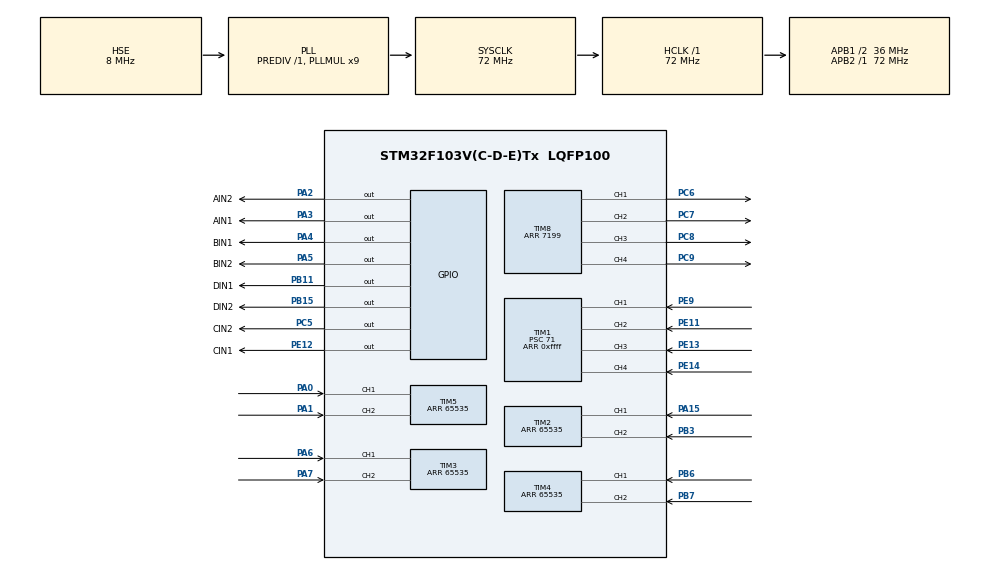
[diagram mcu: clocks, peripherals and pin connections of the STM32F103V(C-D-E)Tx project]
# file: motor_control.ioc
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Mcu.Family=STM32F1
Mcu.Name=STM32F103V(C-D-E)Tx
Mcu.Package=LQFP100
NVIC.PriorityGroup=NVIC_PRIORITYGROUP_4
NVIC.TIM1_BRK_IRQn=true\:0\:0\:true\:false\:true\:true\:true
NVIC.TIM1_CC_IRQn=true\:0\:0\:true\:false\:true\:true\:true
NVIC.TIM1_TRG_COM_IRQn=true\:0\:0\:true\:false\:true\:true\:true
NVIC.TIM1_UP_IRQn=true\:0\:0\:true\:false\:true\:true\:true
NVIC.TIM2_IRQn=true\:0\:0\:false\:false\:true\:true\:true
NVIC.TIM3_IRQn=true\:0\:0\:false\:false\:true\:true\:true
NVIC.TIM4_IRQn=true\:0\:0\:false\:false\:true\:true\:true
NVIC.TIM5_IRQn=true\:0\:0\:false\:false\:true\:true\:true
OSC_IN.Mode=HSE-External-Oscillator
OSC_IN.Signal=RCC_OSC_IN
OSC_OUT.Mode=HSE-External-Oscillator
OSC_OUT.Signal=RCC_OSC_OUT
PA0-WKUP.GPIO_PuPd=GPIO_PULLUP
PA0-WKUP.Signal=S_TIM5_CH1
PA1.GPIO_PuPd=GPIO_PULLUP
PA1.Signal=S_TIM5_CH2
PA13.Mode=Serial_Wire
PA13.Signal=SYS_JTMS-SWDIO
PA14.Mode=Serial_Wire
PA14.Signal=SYS_JTCK-SWCLK
PA15.GPIO_PuPd=GPIO_PULLUP
PA15.Signal=S_TIM2_CH1_ETR
PA2.GPIO_Label=AIN2
PA2.GPIO_PuPd=GPIO_PULLDOWN
PA2.Signal=GPIO_Output
PA3.GPIO_Label=AIN1
PA3.GPIO_PuPd=GPIO_PULLDOWN
PA3.Signal=GPIO_Output
PA4.GPIO_Label=BIN1
PA4.Signal=GPIO_Output
PA5.GPIO_Label=BIN2
PA5.Signal=GPIO_Output
PA6.GPIO_PuPd=GPIO_PULLUP
PA6.Signal=S_TIM3_CH1
PA7.GPIO_PuPd=GPIO_PULLUP
PA7.Signal=S_TIM3_CH2
PB11.GPIO_Label=DIN1
PB11.GPIO_PuPd=GPIO_PULLDOWN
PB11.Signal=GPIO_Output
PB15.GPIO_Label=DIN2
PB15.GPIO_PuPd=GPIO_PULLDOWN
PB15.Signal=GPIO_Output
PB3.GPIO_PuPd=GPIO_PULLUP
PB3.Signal=S_TIM2_CH2
PB6.Signal=S_TIM4_CH1
PB7.Signal=S_TIM4_CH2
PC5.GPIO_Label=CIN2
PC5.Signal=GPIO_Output
PC6.Signal=S_TIM8_CH1
PC7.Signal=S_TIM8_CH2
PC8.Signal=S_TIM8_CH3
PC9.Signal=S_TIM8_CH4
PE11.GPIO_PuPd=GPIO_PULLDOWN
PE11.Signal=S_TIM1_CH2
PE12.GPIO_Label=CIN1
PE12.Signal=GPIO_Output
PE13.GPIO_PuPd=GPIO_PULLDOWN
PE13.Signal=S_TIM1_CH3
PE14.GPIO_PuPd=GPIO_PULLDOWN
PE14.Signal=S_TIM1_CH4
PE9.GPIO_PuPd=GPIO_PULLDOWN
PE9.Signal=S_TIM1_CH1
ProjectManager.HeapSize=0x200
ProjectManager.StackSize=0x400
ProjectManager.TargetToolchain=MDK-ARM V5
RCC.AHBFreq_Value=72000000
RCC.APB1CLKDivider=RCC_HCLK_DIV2
RCC.APB1Freq_Value=36000000
RCC.APB1TimFreq_Value=72000000
RCC.APB2Freq_Value=72000000
RCC.APB2TimFreq_Value=72000000
RCC.HCLKFreq_Value=72000000
RCC.PLLMUL=RCC_PLL_MUL9
RCC.PLLSourceVirtual=RCC_PLLSOURCE_HSE
RCC.SYSCLKFreq_VALUE=72000000
RCC.SYSCLKSource=RCC_SYSCLKSOURCE_PLLCLK
RCC.USBFreq_Value=72000000
SH.S_TIM1_CH1.0=TIM1_CH1,Input_Capture1_from_TI1
SH.S_TIM1_CH2.0=TIM1_CH2,Input_Capture2_from_TI2
SH.S_TIM1_CH3.0=TIM1_CH3,Input_Capture3_from_TI3
SH.S_TIM1_CH4.0=TIM1_CH4,Input_Capture4_from_TI4
SH.S_TIM2_CH1_ETR.0=TIM2_CH1,Encoder_Interface
SH.S_TIM2_CH2.0=TIM2_CH2,Encoder_Interface
SH.S_TIM3_CH1.0=TIM3_CH1,Encoder_Interface
SH.S_TIM3_CH2.0=TIM3_CH2,Encoder_Interface
SH.S_TIM4_CH1.0=TIM4_CH1,Encoder_Interface
SH.S_TIM4_CH2.0=TIM4_CH2,Encoder_Interface
SH.S_TIM5_CH1.0=TIM5_CH1,Encoder_Interface
SH.S_TIM5_CH2.0=TIM5_CH2,Encoder_Interface
SH.S_TIM8_CH1.0=TIM8_CH1,PWM Generation1 CH1
SH.S_TIM8_CH2.0=TIM8_CH2,PWM Generation2 CH2
SH.S_TIM8_CH3.0=TIM8_CH3,PWM Generation3 CH3
SH.S_TIM8_CH4.0=TIM8_CH4,PWM Generation4 CH4
TIM1.AutoReloadPreload=TIM_AUTORELOAD_PRELOAD_ENABLE
TIM1.Channel-Input_Capture1_from_TI1=TIM_CHANNEL_1
TIM1.Channel-Input_Capture2_from_TI2=TIM_CHANNEL_2
TIM1.Channel-Input_Capture3_from_TI3=TIM_CHANNEL_3
TIM1.Channel-Input_Capture4_from_TI4=TIM_CHANNEL_4
TIM1.ICFilter_CH1=8
TIM1.ICFilter_CH2=8
TIM1.ICFilter_CH3=8
TIM1.ICFilter_CH4=8
TIM1.ICPolarity_CH1=TIM_INPUTCHANNELPOLARITY_FALLING
TIM1.ICPolarity_CH2=TIM_INPUTCHANNELPOLARITY_FALLING
TIM1.ICPolarity_CH3=TIM_INPUTCHANNELPOLARITY_FALLING
TIM1.ICPolarity_CH4=TIM_INPUTCHANNELPOLARITY_FALLING
TIM1.Period=0xffff
TIM1.Prescaler=71
TIM1.TIM_MasterOutputTrigger=TIM_TRGO_UPDATE
TIM2.EncoderMode=TIM_ENCODERMODE_TI12
TIM2.Period=65535
TIM3.EncoderMode=TIM_ENCODERMODE_TI12
TIM3.Period=65535
TIM4.EncoderMode=TIM_ENCODERMODE_TI12
TIM4.Period=65535
TIM5.EncoderMode=TIM_ENCODERMODE_TI12
TIM5.Period=65535
TIM8.Channel-PWM\ Generation1\ CH1=TIM_CHANNEL_1
TIM8.Channel-PWM\ Generation2\ CH2=TIM_CHANNEL_2
TIM8.Channel-PWM\ Generation3\ CH3=TIM_CHANNEL_3
TIM8.Channel-PWM\ Generation4\ CH4=TIM_CHANNEL_4
TIM8.Period=7199
VP_TIM1_VS_ClockSourceINT.Mode=Internal
board=custom

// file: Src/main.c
/* USER CODE BEGIN Header */
/**
  ******************************************************************************
  * @file           : main.c
  * @brief          : Main program body
  ******************************************************************************
  * @attention
  *
  * <h2><center>&copy; Copyright (c) 2023 STMicroelectronics.
  * All rights reserved.</center></h2>
  *
  * This software component is licensed by ST under BSD 3-Clause license,
  * the "License"; You may not use this file except in compliance with the
  * License. You may obtain a copy of the License at:
  *                        opensource.org/licenses/BSD-3-Clause
  *
  ******************************************************************************
  */
/* USER CODE END Header */

#include "main.h"
#include "tim.h"
#include "gpio.h"

/* USER CODE BEGIN Includes */
#include "stdio.h"
#include "math.h"
/* USER CODE END Includes */

/* USER CODE BEGIN PTD */

//编码器方向规定：向前为正
//直流电机旋转方向规定：向前为正

int flag=3;

int Direction_motor_A=0,Read_Encoder_A=0,Last_Read_Encoder_A=0,Encoder_A=0;  //电机编码器相关
int Direction_motor_B=0,Read_Encoder_B=0,Last_Read_Encoder_B=0,Encoder_B=0;
int Direction_motor_C=0,Read_Encoder_C=0,Last_Read_Encoder_C=0,Encoder_C=0;
int Direction_motor_D=0,Read_Encoder_D=0,Last_Read_Encoder_D=0,Encoder_D=0;
short Read_Encoder_short_A=0,Read_Encoder_short_B=0,Read_Encoder_short_C=0,Read_Encoder_short_D=0;

int motor_a=0,motor_b=0,motor_c=0,motor_d=0;  //各电机的PWM控制输出

int Target_velocity=20;  //设定速度控制的目标速度为30个脉冲每10ms
int Target_position=8000;

/* USER CODE END PTD */

/* USER CODE BEGIN PD */

/* 求绝对值函数 */
int myabs(long int a)
{
	  int temp;
		if(a<0)  temp=-a;
	  else temp=a;
	  return temp;
}

/* 定时器输出PWM函数，控制电机进行旋转 */
void Set_Pwm(int motor_pwm_a,int motor_pwm_b,int motor_pwm_c,int motor_pwm_d)
{
  if(motor_pwm_a<0)  //MotorA
	{
		HAL_GPIO_WritePin(GPIOA, AIN1_Pin, GPIO_PIN_RESET);
		HAL_GPIO_WritePin(GPIOA, AIN2_Pin, GPIO_PIN_SET);
	}
	else
	{
		HAL_GPIO_WritePin(GPIOA, AIN1_Pin, GPIO_PIN_SET);
		HAL_GPIO_WritePin(GPIOA, AIN2_Pin, GPIO_PIN_RESET);
	}
	__HAL_TIM_SET_COMPARE(&htim8, TIM_CHANNEL_1, myabs(motor_pwm_a));

  if(motor_pwm_b<0)  //MotorB
	{
		HAL_GPIO_WritePin(GPIOA, BIN1_Pin, GPIO_PIN_SET);
		HAL_GPIO_WritePin(GPIOA, BIN2_Pin, GPIO_PIN_RESET);
	}
	else
	{
		HAL_GPIO_WritePin(GPIOA, BIN1_Pin, GPIO_PIN_RESET);
		HAL_GPIO_WritePin(GPIOA, BIN2_Pin, GPIO_PIN_SET);
	}
	__HAL_TIM_SET_COMPARE(&htim8, TIM_CHANNEL_2, myabs(motor_pwm_b));

  if(motor_pwm_c<0)  //MotorC
	{
		HAL_GPIO_WritePin(GPIOE, CIN1_Pin, GPIO_PIN_RESET);
		HAL_GPIO_WritePin(GPIOC, CIN2_Pin, GPIO_PIN_SET);
	}
	else
	{
		HAL_GPIO_WritePin(GPIOE, CIN1_Pin, GPIO_PIN_SET);
		HAL_GPIO_WritePin(GPIOC, CIN2_Pin, GPIO_PIN_RESET);
	}
	__HAL_TIM_SET_COMPARE(&htim8, TIM_CHANNEL_3, myabs(motor_pwm_c));

  if(motor_pwm_d<0)  //MotorD
	{
		HAL_GPIO_WritePin(GPIOB, DIN1_Pin, GPIO_PIN_RESET);
		HAL_GPIO_WritePin(GPIOB, DIN2_Pin, GPIO_PIN_SET);
	}
	else
	{
		HAL_GPIO_WritePin(GPIOB, DIN1_Pin, GPIO_PIN_SET);
		HAL_GPIO_WritePin(GPIOB, DIN2_Pin, GPIO_PIN_RESET);
	}
	__HAL_TIM_SET_COMPARE(&htim8, TIM_CHANNEL_4, myabs(motor_pwm_d));
}

/* 限幅函数 */
int target_limit_int(int insert,int low,int high)
{
    if (insert < low)
        return low;
    else if (insert > high)
        return high;
    else
        return insert;
}

/* PI速度环控制器 */
int Incremental_PI (int Encoder,int Target)
{
   float Kp=200,Ki=1;
	 static int Bias,Pwm,Last_bias;
	 Bias=Target-Encoder;                //计算偏差=目标值-测量值
	 Pwm+=Kp*(Bias-Last_bias)+Ki*Bias;   //增量式PI控制器
	 Last_bias=Bias;	                   //保存上一次偏差
	 return Pwm;                         //增量输出
}

/* PID位置环控制器 */
int Position_PID (int Encoder,int Target)
{
	 float Position_KP=20,Position_KI=0,Position_KD=0;
	 static float Bias,Pwm,Integral_bias,Last_Bias;
	 Bias=Target-Encoder;                                  //计算偏差
	 Integral_bias+=Bias;	                                 //求出偏差的积分
	 Pwm=Position_KP*Bias+Position_KI*Integral_bias+Position_KD*(Bias-Last_Bias);       //位置式PID控制器
	 Last_Bias=Bias;                                       //保存上一次偏差
	 return Pwm;                                           //增量输出
}

/* 读取10ms内各编码器的变化量 */
int Read_Encoder(int Encode_x)
{
	short Encoder_NUM;

	switch(Encode_x)
	{
		case 1:
		{
			Direction_motor_A = __HAL_TIM_IS_TIM_COUNTING_DOWN(&htim2);	//方向相关，该变量暂未使用
			Read_Encoder_A=__HAL_TIM_GET_COUNTER(&htim2);
			Read_Encoder_short_A = 	(short)Read_Encoder_A;
			TIM2 -> CNT=0;
			Encoder_NUM = -Read_Encoder_short_A;
			break;
		}
		case 2:
		{
			Direction_motor_B = __HAL_TIM_IS_TIM_COUNTING_DOWN(&htim3);	//方向相关，该变量暂未使用
			Read_Encoder_B=__HAL_TIM_GET_COUNTER(&htim3);
			Read_Encoder_short_B = 	(short)Read_Encoder_B;
			TIM3 -> CNT=0;
			Encoder_NUM = -Read_Encoder_short_B;
			break;
		}
		case 3:
		{
			Direction_motor_C = __HAL_TIM_IS_TIM_COUNTING_DOWN(&htim4);	//方向相关，该变量暂未使用
			Read_Encoder_C=__HAL_TIM_GET_COUNTER(&htim4);
			Read_Encoder_short_C = 	(short)Read_Encoder_C;
			TIM4 -> CNT=0;
			Encoder_NUM = Read_Encoder_short_C;
			break;
		}
		case 4:
		{
			Direction_motor_D = __HAL_TIM_IS_TIM_COUNTING_DOWN(&htim5);	//方向相关，该变量暂未使用
			Read_Encoder_D=__HAL_TIM_GET_COUNTER(&htim5);
			Read_Encoder_short_D = 	(short)Read_Encoder_D;
			TIM5 -> CNT=0;
			Encoder_NUM = Read_Encoder_short_D;
			break;
		}
		default: Encoder_NUM=0;
	}
	return Encoder_NUM;
}

/* USER CODE END PD */

void SystemClock_Config(void);

int main(void)
{

  /* MCU Configuration--------------------------------------------------------*/

  /* Reset of all peripherals, Initializes the Flash interface and the Systick. */
  HAL_Init();

  /* Configure the system clock */
  SystemClock_Config();

  /* Initialize all configured peripherals */
  MX_GPIO_Init();
  MX_TIM5_Init();
  MX_TIM2_Init();
  MX_TIM3_Init();
  MX_TIM4_Init();
  MX_TIM8_Init();
  MX_TIM1_Init();
  /* USER CODE BEGIN 2 */

	HAL_TIM_IC_Start_IT(&htim1,TIM_CHANNEL_1);	//一定要开启TIM1通道1的捕获中断
	HAL_TIM_IC_Start_IT(&htim1,TIM_CHANNEL_2);	//一定要开启TIM1通道2的捕获中断
	HAL_TIM_IC_Start_IT(&htim1,TIM_CHANNEL_3);	//一定要开启TIM1通道3的捕获中断
	HAL_TIM_IC_Start_IT(&htim1,TIM_CHANNEL_4);	//一定要开启TIM1通道4的捕获中断

  __HAL_TIM_ENABLE_IT(&htim1,TIM_IT_UPDATE);	//一定要开启TIM1的更新中断

	HAL_TIM_Encoder_Start(&htim2, TIM_CHANNEL_1);  //MotorA  编码器输入
	HAL_TIM_Encoder_Start(&htim2, TIM_CHANNEL_2);  //MotorA  编码器输入

	HAL_TIM_Encoder_Start(&htim3, TIM_CHANNEL_1);  //MotorB  编码器输入
	HAL_TIM_Encoder_Start(&htim3, TIM_CHANNEL_2);  //MotorB  编码器输入

	HAL_TIM_Encoder_Start(&htim4, TIM_CHANNEL_1);  //MotorC  编码器输入
	HAL_TIM_Encoder_Start(&htim4, TIM_CHANNEL_2);  //MotorC  编码器输入

  HAL_TIM_Encoder_Start(&htim5, TIM_CHANNEL_1);  //MotorD  编码器输入
	HAL_TIM_Encoder_Start(&htim5, TIM_CHANNEL_2);  //MotorD  编码器输入

	HAL_TIM_PWM_Start(&htim8, TIM_CHANNEL_1); 	 //MotorA\B\C\D  PWM输出
	HAL_TIM_PWM_Start(&htim8, TIM_CHANNEL_2); 	 //MotorA\B\C\D  PWM输出
	HAL_TIM_PWM_Start(&htim8, TIM_CHANNEL_3); 	 //MotorA\B\C\D  PWM输出
	HAL_TIM_PWM_Start(&htim8, TIM_CHANNEL_4); 	 //MotorA\B\C\D  PWM输出

  /* USER CODE END 2 */

  /* Infinite loop */
  while (1)
  {

    /* USER CODE BEGIN 3 */

//		while(flag)
//		{
//			for(int i=0;i<3;i++)
//			{
//				Set_Pwm(1000);
//				HAL_Delay(1000);
//				flag--;
//			}
//		}

		Encoder_A = Read_Encoder(1);
		Encoder_B = Read_Encoder(2);
		Encoder_C = Read_Encoder(3);
		Encoder_D = Read_Encoder(4);

		motor_a=Incremental_PI(Encoder_A,Target_velocity); // PI速度环控制器
    motor_b=Incremental_PI(Encoder_B,Target_velocity); // PI速度环控制器
		motor_c=Incremental_PI(Encoder_C,Target_velocity); // PI速度环控制器
		motor_d=Incremental_PI(Encoder_D,Target_velocity); // PI速度环控制器

//		motor_a=Position_PID(Read_Encoder_D,Target_position);  //PID位置环控制器

		motor_a=target_limit_int(motor_a,-2000,2000);  //限幅函数
		motor_b=target_limit_int(motor_b,-2000,2000);  //限幅函数
		motor_c=target_limit_int(motor_c,-2000,2000);  //限幅函数
		motor_d=target_limit_int(motor_d,-2000,2000);  //限幅函数

		//Set_Pwm(motor_a,motor_b,motor_c,motor_d);

		HAL_Delay(10);
  }
  /* USER CODE END 3 */
}

void SystemClock_Config(void)
{
  RCC_OscInitTypeDef RCC_OscInitStruct = {0};
  RCC_ClkInitTypeDef RCC_ClkInitStruct = {0};

  /** Initializes the CPU, AHB and APB busses clocks
  */
  RCC_OscInitStruct.OscillatorType = RCC_OSCILLATORTYPE_HSE;
  RCC_OscInitStruct.HSEState = RCC_HSE_ON;
  RCC_OscInitStruct.HSEPredivValue = RCC_HSE_PREDIV_DIV1;
  RCC_OscInitStruct.HSIState = RCC_HSI_ON;
  RCC_OscInitStruct.PLL.PLLState = RCC_PLL_ON;
  RCC_OscInitStruct.PLL.PLLSource = RCC_PLLSOURCE_HSE;
  RCC_OscInitStruct.PLL.PLLMUL = RCC_PLL_MUL9;
  if (HAL_RCC_OscConfig(&RCC_OscInitStruct) != HAL_OK)
  {
    Error_Handler();
  }
  /** Initializes the CPU, AHB and APB busses clocks
  */
  RCC_ClkInitStruct.ClockType = RCC_CLOCKTYPE_HCLK|RCC_CLOCKTYPE_SYSCLK
                              |RCC_CLOCKTYPE_PCLK1|RCC_CLOCKTYPE_PCLK2;
  RCC_ClkInitStruct.SYSCLKSource = RCC_SYSCLKSOURCE_PLLCLK;
  RCC_ClkInitStruct.AHBCLKDivider = RCC_SYSCLK_DIV1;
  RCC_ClkInitStruct.APB1CLKDivider = RCC_HCLK_DIV2;
  RCC_ClkInitStruct.APB2CLKDivider = RCC_HCLK_DIV1;

  if (HAL_RCC_ClockConfig(&RCC_ClkInitStruct, FLASH_LATENCY_2) != HAL_OK)
  {
    Error_Handler();
  }
}

void Error_Handler(void)
{
}

/************************ (C) COPYRIGHT STMicroelectronics *****END OF FILE****/
